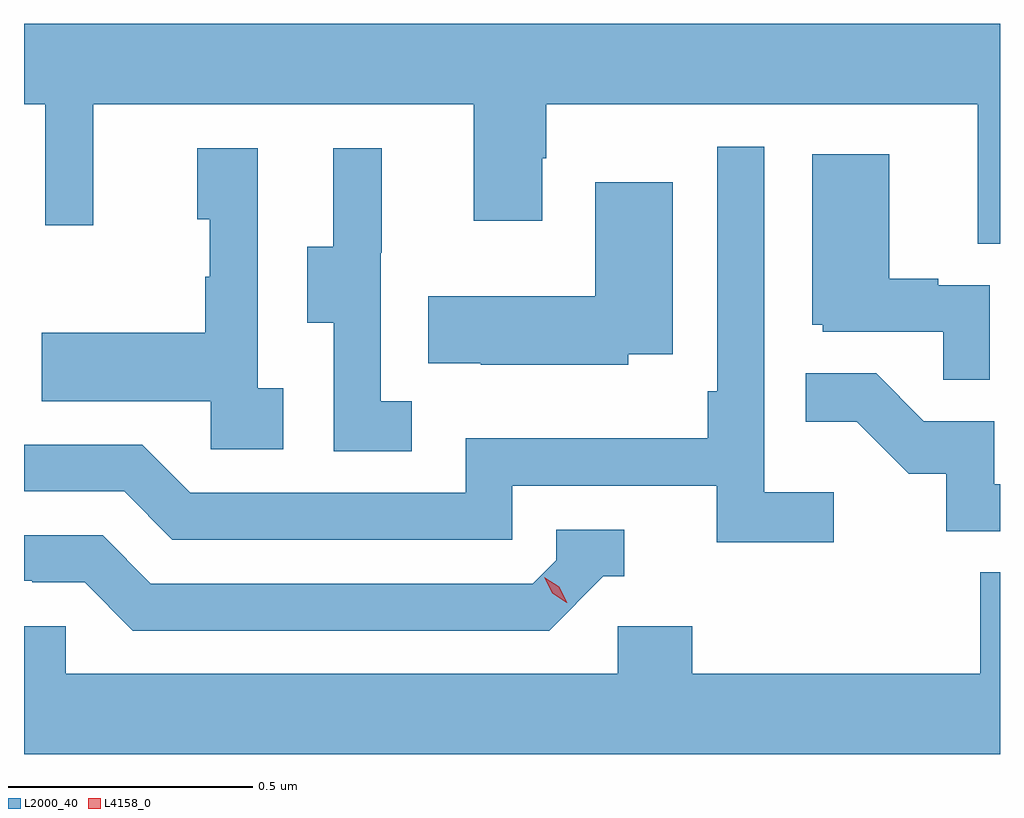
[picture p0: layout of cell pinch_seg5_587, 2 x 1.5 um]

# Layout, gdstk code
import gdstk
lib = gdstk.Library(unit=1e-6, precision=1e-09)
def P(c, l, *ps):  # polygons
    for p in ps: c.add(gdstk.Polygon(p, *l))
L2000_40 = (2000, 40)
L4158_0 = (4158, 0)

pinch_seg5_587 = lib.new_cell('pinch_seg5_587')
P(pinch_seg5_587, L2000_40, [(1118.109,859.588),(1116.109,859.588),(1116.109,859.424),(1116.153,859.424),(1116.153,859.176),(1116.251,859.176),(1116.251,859.424),(1117.031,859.424),(1117.031,859.185),(1117.171,859.185),(1117.171,859.313),(1117.179,859.313),(1117.179,859.424),(1118.063,859.424),(1118.063,859.138),(1118.109,859.138)],
  [(1117.768,858.628),(1117.626,858.628),(1117.626,859.336),(1117.53,859.336),(1117.53,858.835),(1117.51,858.835),(1117.51,858.739),(1117.014,858.739),(1117.014,858.627),(1116.45,858.627),(1116.351,858.726),(1116.109,858.726),(1116.109,858.63),(1116.314,858.63),(1116.413,858.531),(1117.11,858.531),(1117.11,858.642),(1117.529,858.642),(1117.529,858.526),(1117.768,858.526)],
  [(1116.64,858.842),(1116.588,858.842),(1116.588,859.333),(1116.464,859.333),(1116.464,859.188),(1116.49,859.188),(1116.49,859.07),(1116.48,859.07),(1116.48,858.955),(1116.145,858.955),(1116.145,858.815),(1116.492,858.815),(1116.492,858.717),(1116.64,858.717)],
  [(1116.904,858.815),(1116.84,858.815),(1116.84,859.119),(1116.842,859.119),(1116.842,859.333),(1116.743,859.333),(1116.743,859.131),(1116.689,859.131),(1116.689,858.976),(1116.744,858.976),(1116.744,858.712),(1116.904,858.712)],
  [(1118.088,859.053),(1117.982,859.053),(1117.982,859.066),(1117.882,859.066),(1117.882,859.321),(1117.724,859.321),(1117.724,858.972),(1117.746,858.972),(1117.746,858.957),(1117.993,858.957),(1117.993,858.859),(1118.088,858.859)],
  [(1117.347,858.911),(1117.438,858.911),(1117.438,859.264),(1117.28,859.264),(1117.28,859.03),(1116.937,859.03),(1116.937,858.893),(1117.045,858.893),(1117.045,858.89),(1117.347,858.89)],
  [(1118.109,858.645),(1118.097,858.645),(1118.097,858.774),(1117.953,858.774),(1117.855,858.872),(1117.711,858.872),(1117.711,858.773),(1117.815,858.773),(1117.922,858.666),(1117.999,858.666),(1117.999,858.549),(1118.109,858.549)],
  [(1117.296,858.456),(1117.339,858.456),(1117.339,858.552),(1117.2,858.552),(1117.2,858.489),(1117.152,858.441),(1116.369,858.441),(1116.27,858.54),(1116.109,858.54),(1116.109,858.447),(1116.126,858.447),(1116.126,858.444),(1116.233,858.444),(1116.332,858.345),(1117.185,858.345)],
  [(1118.109,858.464),(1118.069,858.464),(1118.069,858.256),(1117.478,858.256),(1117.478,858.354),(1117.326,858.354),(1117.326,858.256),(1116.195,858.256),(1116.195,858.354),(1116.109,858.354),(1116.109,858.092),(1118.109,858.092)])
P(pinch_seg5_587, L4158_0, [(1117.221,858.402),(1117.191,858.421),(1117.175,858.454),(1117.175,858.454),(1117.175,858.454),(1117.206,858.435),(1117.222,858.402),(1117.222,858.402)])

lib.write_gds('pinch_seg5_587.gds')
